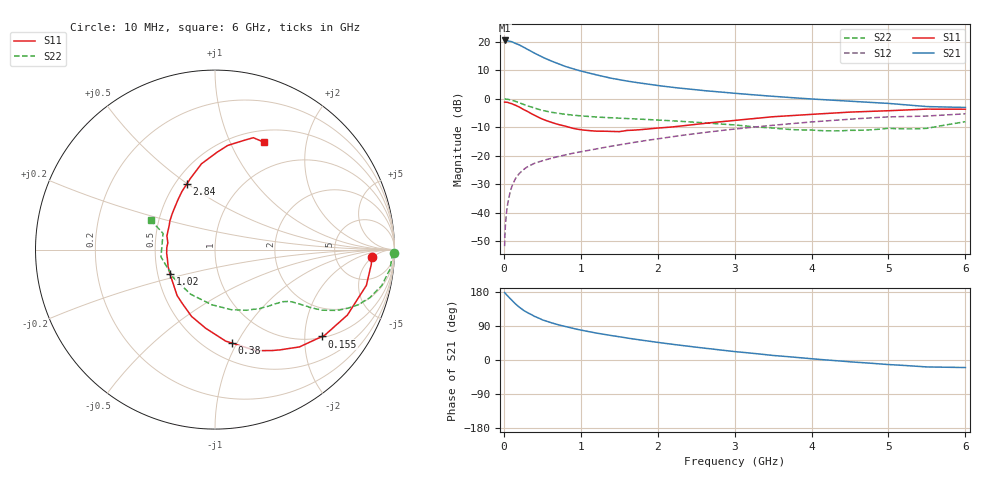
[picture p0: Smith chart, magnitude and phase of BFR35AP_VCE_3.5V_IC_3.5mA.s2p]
! Infineon Technologies  Discrete & RF Semiconductors
! BFR35AP
! VCE =  3.5 V,  IC =  3.5 mA
! Common Emitter S-Parameters:  Nov 2015
# GHz  S  MA  R  50
!  f  S11  S21  S12  S22
! GHz  MAG  ANG  MAG  ANG  MAG  ANG  MAG  ANG
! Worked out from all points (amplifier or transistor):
!   210 points, 10 MHz to 6 GHz, reference 50 ohm
!   highest |S21| = 20.5 dB at 10 MHz (marker M1)
!   |S21| within 3 dB of that: start of sweep to 296 MHz
!   unconditionally stable (mu >= 1): 936.6 MHz to 3.638 GHz
!   at 185 MHz: K = 0.30, MSG = 22.9 dB, |S12| = -26.7 dB
!   at 1.52 GHz: K = 1.14, MAG = 9.1 dB, |S12| = -16.1 dB
!   at 6 GHz: K = 0.97, MSG = 1.1 dB, |S12| = -5.3 dB
!   S11 on the Smith chart (normalised r, x): 10 MHz: 13, -5; 155 MHz: 1.03, -2.44; 380 MHz: 0.66, -0.95; 1.02 GHz: 0.58, -0.17; 2.84 GHz: 0.57, +0.50; 6 GHz: 0.64, +1.35
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0.01  0.8735 -2.7  10.54 177.9  0.0026 91.4  0.9952 -1.2
0.02  0.8747 -5.4  10.37 175.4  0.0059 87.2  0.9863 -2.5
0.035  0.8686 -9.3  10.37 172.1  0.0101 84.0  0.9835 -4.4
0.05  0.8666 -13.3  10.39 168.9  0.0143 82.7  0.9817 -6.3
0.1  0.8229 -26.3  10.1 158.5  0.0279 76.1  0.95 -12.2
0.155  0.7685 -39.0  9.309 147.4  0.0404 69.0  0.8987 -17.6
0.2  0.7177 -49.1  8.833 139.5  0.0488 65.0  0.8546 -21.1
0.24  0.6667 -56.9  8.263 133.4  0.0549 61.5  0.8121 -23.6
0.3  0.6075 -67.9  7.41 125.4  0.0633 58.1  0.7573 -26.6
0.38  0.529 -79.8  6.508 117.4  0.0719 55.2  0.6992 -28.9
0.5  0.4412 -96.8  5.383 106.0  0.0818 52.7  0.625 -31.2
0.6  0.3943 -109.4  4.693 99.2  0.0892 52.0  0.5845 -32.1
0.7  0.357 -119.4  4.151 93.3  0.0967 51.6  0.557 -32.9
0.8  0.3316 -129.6  3.69 88.0  0.1038 51.5  0.5345 -33.6
1.02  0.2846 -151.9  3.023 78.2  0.119 52.3  0.4993 -35.3
1.4  0.2689 177.5  2.288 64.5  0.1476 53.3  0.4645 -39.5
2.02  0.3078 141.8  1.696 46.0  0.2009 52.0  0.4218 -49.6
2.84  0.3974 113.2  1.308 25.9  0.2793 46.5  0.359 -69.4
3.1  0.4303 107.0  1.217 20.4  0.3042 43.8  0.3371 -77.9
4.1  0.5431 88.7  0.974 1.6  0.4017 32.4  0.2773 -124.2
5.1  0.6251 75.8  0.809 -13.1  0.4843 18.2  0.2991 -177.2
6  0.6574 65.6  0.704 -19.9  0.5448 7.6  0.3958 155.1
